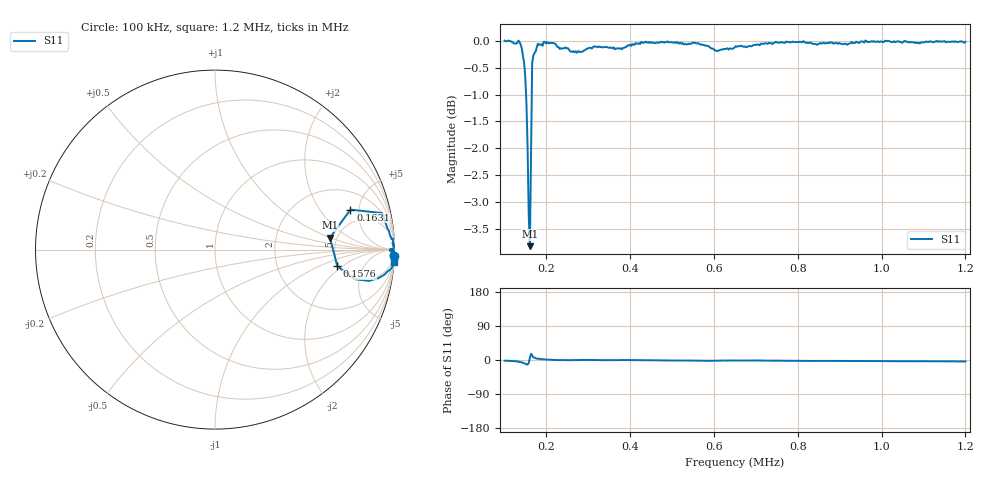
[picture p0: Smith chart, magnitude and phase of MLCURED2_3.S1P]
!Agilent Technologies,E5071C,MY46100265,A.07.02
!Date: Wed Mar 04 14:42:50 2020
!Data & Calibration Information:
!Freq	S11:SOLT1(ON)
# Hz S MA R 50
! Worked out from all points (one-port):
!   402 points, 100 kHz to 1.2 MHz, reference 50 ohm
!   lowest |S11| = -3.8 dB at 160.3 kHz (marker M1), VSWR 4.62, Z = 219 + j49.5 ohm
!   |S11| at or under -10 dB: nowhere
!   S11 on the Smith chart (normalised r, x): 100 kHz: -1, -58; 157.6 kHz: 4.78, -1.69; 163.1 kHz: 3.47, +4.05; 1.2 MHz: 1, -29
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100000  1 -2.0
124688  0.9941 -3.2
135661  0.9974 -4.9
141147  0.9833 -6.4
146633  0.9538 -8.4
149377  0.9243 -9.9
152120  0.8746 -11.5
154863  0.7958 -11.9
157606  0.6877 -7.8
160349  0.6442 5.9
163092  0.7867 16.4
165835  0.9537 12.3
168579  0.9686 6.8
171322  0.9744 6.3
174065  0.9772 4.8
182294  0.9912 3.1
193267  0.9977 1.8
223441  0.9908 -0.1
239900  0.984 -0.1
377057  0.9841 -0.1
431920  0.9956 -0.6
514214  0.9963 -1.4
591022  0.9853 -2.2
651372  0.9884 -1.4
788529  0.9984 -2.0
925686  0.995 -2.5
1062843  0.997 -3.2
1200000  0.9981 -3.9
